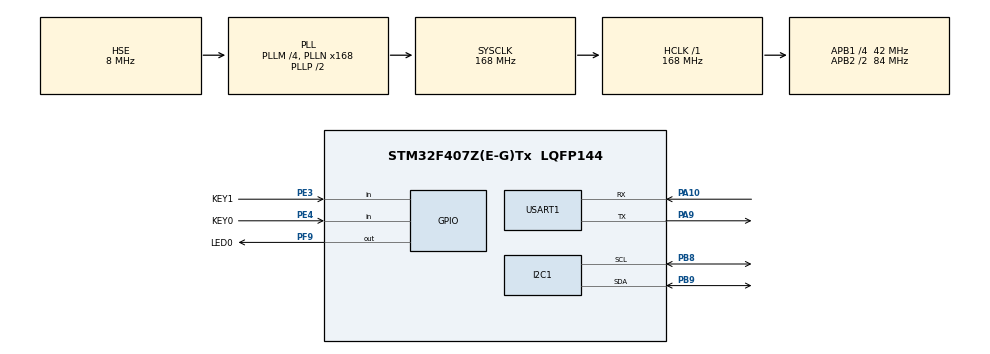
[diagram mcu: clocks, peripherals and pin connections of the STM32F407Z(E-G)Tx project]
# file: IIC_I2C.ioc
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Mcu.Family=STM32F4
Mcu.Name=STM32F407Z(E-G)Tx
Mcu.Package=LQFP144
NVIC.PriorityGroup=NVIC_PRIORITYGROUP_4
PA10.Mode=Asynchronous
PA10.Signal=USART1_RX
PA9.Mode=Asynchronous
PA9.Signal=USART1_TX
PB8.Mode=I2C
PB8.Signal=I2C1_SCL
PB9.Mode=I2C
PB9.Signal=I2C1_SDA
PC14-OSC32_IN.Mode=LSE-External-Oscillator
PC14-OSC32_IN.Signal=RCC_OSC32_IN
PC15-OSC32_OUT.Mode=LSE-External-Oscillator
PC15-OSC32_OUT.Signal=RCC_OSC32_OUT
PE3.GPIO_Label=KEY1
PE3.GPIO_PuPd=GPIO_PULLUP
PE3.Signal=GPIO_Input
PE4.GPIO_Label=KEY0
PE4.GPIO_PuPd=GPIO_PULLUP
PE4.Signal=GPIO_Input
PF9.GPIO_Label=LED0
PF9.GPIO_ModeDefaultOutputPP=GPIO_MODE_OUTPUT_PP
PF9.Signal=GPIO_Output
PH0-OSC_IN.Mode=HSE-External-Oscillator
PH0-OSC_IN.Signal=RCC_OSC_IN
PH1-OSC_OUT.Mode=HSE-External-Oscillator
PH1-OSC_OUT.Signal=RCC_OSC_OUT
ProjectManager.HeapSize=0x200
ProjectManager.StackSize=0x400
ProjectManager.TargetToolchain=MDK-ARM V5
RCC.48MHZClocksFreq_Value=84000000
RCC.AHBFreq_Value=168000000
RCC.APB1CLKDivider=RCC_HCLK_DIV4
RCC.APB1Freq_Value=42000000
RCC.APB1TimFreq_Value=84000000
RCC.APB2CLKDivider=RCC_HCLK_DIV2
RCC.APB2Freq_Value=84000000
RCC.APB2TimFreq_Value=168000000
RCC.CortexFreq_Value=168000000
RCC.HCLKFreq_Value=168000000
RCC.HSE_VALUE=8000000
RCC.HSI_VALUE=16000000
RCC.PLLM=4
RCC.PLLN=168
RCC.PLLSourceVirtual=RCC_PLLSOURCE_HSE
RCC.SYSCLKFreq_VALUE=168000000
RCC.SYSCLKSource=RCC_SYSCLKSOURCE_PLLCLK
RCC.VCOOutputFreq_Value=336000000
USART1.VirtualMode=VM_ASYNC
board=custom

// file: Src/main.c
/* USER CODE BEGIN Header */
/**
  ******************************************************************************
  * @file           : main.c
  * @brief          : Main program body
  ******************************************************************************
  * @attention
  *
  * <h2><center>&copy; Copyright (c) 2020 STMicroelectronics.
  * All rights reserved.</center></h2>
  *
  * This software component is licensed by ST under BSD 3-Clause license,
  * the "License"; You may not use this file except in compliance with the
  * License. You may obtain a copy of the License at:
  *                        opensource.org/licenses/BSD-3-Clause
  *
  ******************************************************************************
  */
/* USER CODE END Header */

#include "main.h"
#include "i2c.h"
#include "usart.h"
#include "gpio.h"

/* USER CODE BEGIN Includes */
#include "key.h"
#include "24cxx.h"
/* USER CODE END Includes */

void SystemClock_Config(void);

/* USER CODE BEGIN 0 */

//要写入到24c02的字符串数组
//const u8 TEXT_Buffer[]={"Explorer STM32F4 IIC TEST"};
//#define SIZE sizeof(TEXT_Buffer)
uint8_t test_writebuf[] = "This is a STM32F407ZGT6 IIC test for AT24C02";
#define TEST_SIZE 	sizeof(test_writebuf)
/* USER CODE END 0 */

int main(void)
{
  /* USER CODE BEGIN 1 */
  u8 key;
	u16 i=0;
	uint8_t test_recbuf[TEST_SIZE];
  /* USER CODE END 1 */

  /* MCU Configuration--------------------------------------------------------*/

  /* Reset of all peripherals, Initializes the Flash interface and the Systick. */
  HAL_Init();

  /* Configure the system clock */
  SystemClock_Config();

  /* Initialize all configured peripherals */
  MX_GPIO_Init();
  MX_I2C1_Init();
  MX_USART1_UART_Init();

  /* Infinite loop */
  while (1)
  {

    /* USER CODE BEGIN 3 */
		key=KEY_Scan(0);
		if(key==KEY1_PRES)//KEY1按下,写入24C02
		{
//			AT24CXX_Write(0,(u8*)TEXT_Buffer,SIZE);
			AT24CXX_WriteData(0,test_writebuf,TEST_SIZE);
//		  printf("write\r\n");
		}
		if(key==KEY0_PRES)//KEY0按下,读取字符串并显示
		{
//			AT24CXX_Read(0,datatemp,SIZE);
			AT24CXX_ReadData(0,test_recbuf,TEST_SIZE);
//			printf("read\r\n");
      HAL_UART_Transmit(&huart1,test_recbuf,TEST_SIZE,0xFFFF);
		}
		i++;
		HAL_Delay(10);
		if(i==20)
		{
			HAL_GPIO_TogglePin(LED0_GPIO_Port,LED0_Pin);//提示系统正在运行
			i=0;
		}
  }
  /* USER CODE END 3 */
}

void SystemClock_Config(void)
{
  RCC_OscInitTypeDef RCC_OscInitStruct = {0};
  RCC_ClkInitTypeDef RCC_ClkInitStruct = {0};

  /** Configure the main internal regulator output voltage
  */
  __HAL_RCC_PWR_CLK_ENABLE();
  __HAL_PWR_VOLTAGESCALING_CONFIG(PWR_REGULATOR_VOLTAGE_SCALE1);
  /** Initializes the CPU, AHB and APB busses clocks
  */
  RCC_OscInitStruct.OscillatorType = RCC_OSCILLATORTYPE_HSE;
  RCC_OscInitStruct.HSEState = RCC_HSE_ON;
  RCC_OscInitStruct.PLL.PLLState = RCC_PLL_ON;
  RCC_OscInitStruct.PLL.PLLSource = RCC_PLLSOURCE_HSE;
  RCC_OscInitStruct.PLL.PLLM = 4;
  RCC_OscInitStruct.PLL.PLLN = 168;
  RCC_OscInitStruct.PLL.PLLP = RCC_PLLP_DIV2;
  RCC_OscInitStruct.PLL.PLLQ = 4;
  if (HAL_RCC_OscConfig(&RCC_OscInitStruct) != HAL_OK)
  {
    Error_Handler();
  }
  /** Initializes the CPU, AHB and APB busses clocks
  */
  RCC_ClkInitStruct.ClockType = RCC_CLOCKTYPE_HCLK|RCC_CLOCKTYPE_SYSCLK
                              |RCC_CLOCKTYPE_PCLK1|RCC_CLOCKTYPE_PCLK2;
  RCC_ClkInitStruct.SYSCLKSource = RCC_SYSCLKSOURCE_PLLCLK;
  RCC_ClkInitStruct.AHBCLKDivider = RCC_SYSCLK_DIV1;
  RCC_ClkInitStruct.APB1CLKDivider = RCC_HCLK_DIV4;
  RCC_ClkInitStruct.APB2CLKDivider = RCC_HCLK_DIV2;

  if (HAL_RCC_ClockConfig(&RCC_ClkInitStruct, FLASH_LATENCY_5) != HAL_OK)
  {
    Error_Handler();
  }
}

void Error_Handler(void)
{
}

/************************ (C) COPYRIGHT STMicroelectronics *****END OF FILE****/
